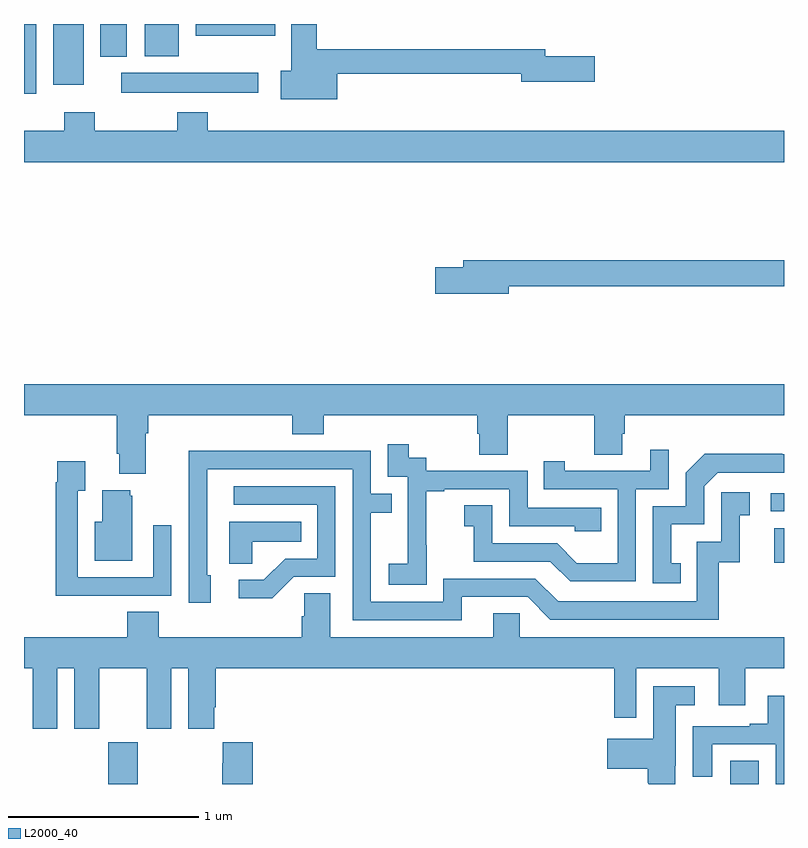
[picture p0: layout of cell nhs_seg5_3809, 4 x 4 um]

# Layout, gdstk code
import gdstk
lib = gdstk.Library(unit=1e-6, precision=1e-09)
def R(c, l, rs):  # rectangles x0, y0, x1, y1
    for r in rs: c.add(gdstk.rectangle(r[:2], r[2:], *l))
def P(c, l, *ps):  # polygons
    for p in ps: c.add(gdstk.Polygon(p, *l))
L2000_40 = (2000, 40)

nhs_seg5_3809 = lib.new_cell('nhs_seg5_3809')
R(nhs_seg5_3809, L2000_40, [(335.443,874.799,335.598,875.02), (338.717,874.799,338.866,874.922), (338.948,875.964,339,876.145), (338.931,876.234,339,876.33), (335,878.432,335.064,878.799), (335.511,878.438,336.232,878.542), (335.153,878.478,335.314,878.799), (335.402,878.627,335.542,878.799), (335.636,878.63,335.815,878.799), (335.903,878.738,336.322,878.799)])
P(nhs_seg5_3809, L2000_40, [(336.649,878.538),(337.616,878.538),(337.616,878.495),(338.005,878.495),(338.005,878.63),(337.744,878.63),(337.744,878.666),(336.542,878.666),(336.542,878.799),(336.407,878.799),(336.407,878.552),(336.351,878.552),(336.351,878.402),(336.649,878.402)],
  [(339,878.236),(335.966,878.236),(335.966,878.335),(335.806,878.335),(335.806,878.236),(335.373,878.236),(335.373,878.335),(335.213,878.335),(335.213,878.236),(335,878.236),(335,878.072),(339,878.072)],
  [(337.552,877.42),(339,877.42),(339,877.556),(337.313,877.556),(337.313,877.52),(337.164,877.52),(337.164,877.378),(337.552,877.378)],
  [(335.641,876.644),(335.654,876.644),(335.654,876.74),(336.413,876.74),(336.413,876.641),(336.578,876.641),(336.578,876.74),(337.385,876.74),(337.385,876.642),(337.397,876.642),(337.397,876.532),(337.545,876.532),(337.545,876.74),(338.002,876.74),(338.002,876.532),(338.149,876.532),(338.149,876.642),(338.162,876.642),(338.162,876.74),(339,876.74),(339,876.904),(335,876.904),(335,876.74),(335.489,876.74),(335.489,876.538),(335.501,876.538),(335.501,876.431),(335.641,876.431)],
  [(337.119,876.055),(337.118,876.055),(337.118,876.339),(337.213,876.339),(337.213,876.351),(337.554,876.351),(337.554,876.156),(337.899,876.156),(337.899,876.129),(338.039,876.129),(338.039,876.252),(337.65,876.252),(337.65,876.447),(337.116,876.447),(337.116,876.516),(337.024,876.516),(337.024,876.586),(336.915,876.586),(336.915,876.417),(337.02,876.417),(337.02,876.188),(337.019,876.188),(337.019,875.959),(336.921,875.959),(336.921,875.849),(337.119,875.849)],
  [(338.22,876.351),(338.394,876.351),(338.394,876.559),(338.297,876.559),(338.297,876.447),(337.846,876.447),(337.846,876.499),(337.735,876.499),(337.735,876.351),(338.124,876.351),(338.124,875.962),(337.91,875.962),(337.806,876.066),(337.464,876.066),(337.464,876.265),(337.317,876.265),(337.317,876.155),(337.366,876.155),(337.366,875.97),(337.769,875.97),(337.874,875.865),(338.22,875.865)],
  [(337.303,875.784),(337.65,875.784),(337.77,875.664),(338.657,875.664),(338.657,875.967),(338.768,875.967),(338.768,876.213),(338.821,876.213),(338.821,876.334),(338.67,876.334),(338.67,876.075),(338.541,876.075),(338.541,875.76),(337.812,875.76),(337.692,875.88),(337.206,875.88),(337.206,875.757),(336.825,875.757),(336.825,876.226),(336.935,876.226),(336.935,876.327),(336.825,876.327),(336.825,876.552),(336.329,876.552),(336.329,876.554),(335.866,876.554),(335.866,876.247),(335.868,876.247),(335.868,875.754),(335.983,875.754),(335.983,875.898),(335.964,875.898),(335.964,876.456),(336.729,876.456),(336.729,875.661),(337.303,875.661)],
  [(338.456,875.961),(338.407,875.961),(338.407,876.165),(338.58,876.165),(338.58,876.366),(338.652,876.438),(339,876.438),(339,876.534),(338.99,876.534),(338.99,876.536),(338.582,876.536),(338.484,876.438),(338.484,876.261),(338.31,876.261),(338.31,875.856),(338.456,875.856)],
  [(335.459,875.79),(335.775,875.79),(335.775,876.16),(335.679,876.16),(335.679,875.886),(335.283,875.886),(335.283,876.343),(335.323,876.343),(335.323,876.499),(335.175,876.499),(335.175,876.386),(335.167,876.386),(335.167,875.789),(335.459,875.789)],
  [(336.42,875.889),(336.639,875.889),(336.639,876.366),(336.105,876.366),(336.105,876.27),(336.543,876.27),(336.543,875.985),(336.374,875.985),(336.263,875.874),(336.129,875.874),(336.129,875.777),(336.307,875.777)],
  [(335.569,876.315),(335.558,876.315),(335.558,876.346),(335.411,876.346),(335.411,876.178),(335.372,876.178),(335.372,875.975),(335.569,875.975)],
  [(336.201,876.074),(336.458,876.074),(336.458,876.178),(336.08,876.178),(336.08,875.959),(336.201,875.959)],
  [(335.176,875.408),(335.264,875.408),(335.264,875.091),(335.395,875.091),(335.395,875.408),(335.645,875.408),(335.645,875.091),(335.776,875.091),(335.776,875.408),(335.864,875.408),(335.864,875.091),(336.001,875.091),(336.001,875.203),(336.008,875.203),(336.008,875.408),(338.107,875.408),(338.107,875.148),(338.223,875.148),(338.223,875.408),(338.657,875.408),(338.657,875.214),(338.797,875.214),(338.797,875.408),(339,875.408),(339,875.572),(337.608,875.572),(337.608,875.699),(337.469,875.699),(337.469,875.572),(336.613,875.572),(336.613,875.804),(336.474,875.804),(336.474,875.681),(336.461,875.681),(336.461,875.572),(335.708,875.572),(335.708,875.705),(335.543,875.705),(335.543,875.572),(335,875.572),(335,875.408),(335.045,875.408),(335.045,875.091),(335.176,875.091)],
  [(338.427,874.8),(338.427,874.894),(338.431,874.894),(338.431,875.213),(338.53,875.213),(338.53,875.314),(338.312,875.314),(338.312,875.038),(338.07,875.038),(338.07,874.88),(338.282,874.88),(338.282,874.806),(338.289,874.799),(338.428,874.799)],
  [(339,875.263),(338.915,875.263),(338.915,875.116),(338.819,875.116),(338.819,875.103),(338.519,875.103),(338.519,874.836),(338.623,874.836),(338.623,875.007),(338.957,875.007),(338.957,874.799),(339,874.799)],
  [(336.203,875.02),(336.047,875.02),(336.047,874.907),(336.043,874.907),(336.043,874.799),(336.203,874.799)])

lib.write_gds('nhs_seg5_3809.gds')
